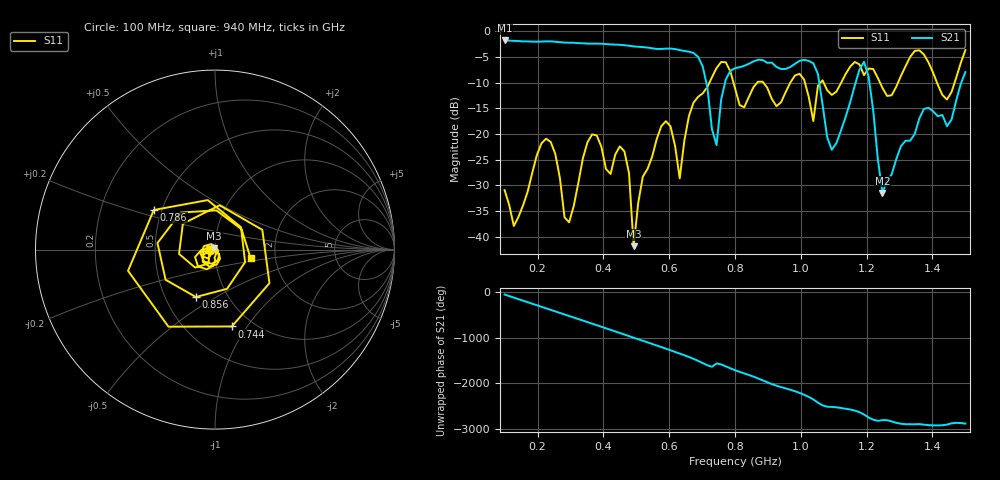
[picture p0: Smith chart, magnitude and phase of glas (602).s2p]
! NanoVNA-App
! Date: 2025-09-25 16:00:09
! Start: 100MHz Stop: 1,5GHz Points: 101
! S-Parameter data: F S11 S21 S12 S22
# Hz S RI R 50
!  Frequency  S11_Real  S11_Imag  S21_Real  S21_Imag  S12_Real  S12_Imag  S22_Real  S22_Imag
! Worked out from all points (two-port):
!   101 points, 100 MHz to 1.5 GHz, reference 50 ohm
!   highest |S21| = -1.80 dB at 100 MHz (marker M1); lowest = -31.5 dB at 1.248 GHz (marker M2)
!   |S21| within 3 dB of the highest: start of sweep to 684.4 MHz
!   lowest |S11| = -41.8 dB at 492 MHz (marker M3), VSWR 1.02, Z = 49.5 + j0.607 ohm
!   |S11| at or under -10 dB: start of sweep to 722.4 MHz; 795.3 MHz to 867.8 MHz (72.48 MHz wide, 8.72 % of centre); 886.1 MHz to 968.2 MHz (82.11 MHz wide, 8.86 % of centre) (the widest 3 of 7)
!   S12 and S22 are empty: the file has one direction only
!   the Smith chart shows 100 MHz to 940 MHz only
!   S11 on the Smith chart (normalised r, x): 100 MHz: 0.95, -0.01; 744 MHz: 0.80, -0.85; 786 MHz: 0.45, +0.24; 856 MHz: 0.71, -0.41; 940 MHz: 1.49, -0.15
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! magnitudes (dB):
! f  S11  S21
! 100 MHz  -30.9  -1.8
! 128 MHz  -37.9  -1.9
! 226 MHz  -20.9  -2.0
! 296 MHz  -37.2  -2.2
! 338 MHz  -24.7  -2.3
! 464 MHz  -23.4  -2.7
! 492 MHz  -41.8  -3.0
! 576 MHz  -18.5  -3.5
! 632 MHz  -28.6  -3.7
! 702 MHz  -12.1  -6.9
! 744 MHz  -7.2  -22.2
! 786 MHz  -7.8  -7.7
! 800 MHz  -11.1  -7.2
! 856 MHz  -10.9  -5.9
! 940 MHz  -13.8  -7.4
! 996 MHz  -8.3  -5.8
! 1.038 GHz  -17.5  -6.2
! 1.094 GHz  -12.4  -23.1
! 1.192 GHz  -8.6  -6.0
! 1.248 GHz  -11.0  -31.5
! 1.276 GHz  -12.5  -27.9
! 1.5 GHz  -3.7  -8.0
